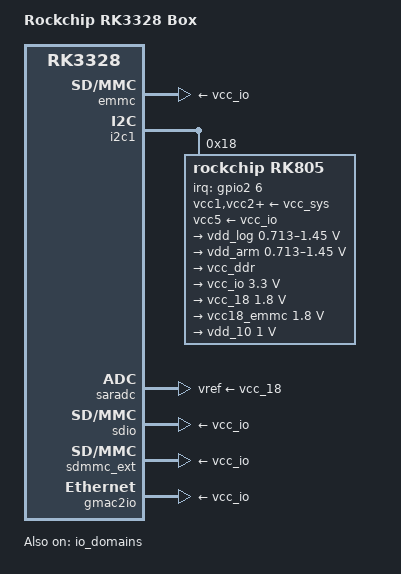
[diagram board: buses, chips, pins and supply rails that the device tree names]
// SPDX-License-Identifier: (GPL-2.0+ OR MIT)

/dts-v1/;
#include "rk33x8-box.dtsi"

/ {
	model = "Rockchip RK3328 Box";

};

&cpu0 {
	cpu-supply = <&vdd_arm>;
};

&cpu1 {
	cpu-supply = <&vdd_arm>;
};

&cpu2 {
	cpu-supply = <&vdd_arm>;
};

&cpu3 {
	cpu-supply = <&vdd_arm>;
};

&emmc {
	vmmc-supply = <&vcc_io>;
	vqmmc-supply = <&vcc18_emmc>;
};

&io_domains {
	vccio1-supply = <&vcc_io>;
	vccio2-supply = <&vcc18_emmc>;
	vccio3-supply = <&vcc_io>;
	vccio4-supply = <&vcc_18>;
	vccio5-supply = <&vcc_io>;
	vccio6-supply = <&vcc_io>;
	pmuio-supply = <&vcc_io>;
	status = "okay";
};

&i2c1 {
	status = "okay";

	rk805: pmic@18 {
		compatible = "rockchip,rk805";
		reg = <0x18>;
		interrupt-parent = <&gpio2>;
		interrupts = <6 IRQ_TYPE_LEVEL_LOW>;
		#clock-cells = <1>;
		clock-output-names = "xin32k", "rk805-clkout2";
		gpio-controller;
		#gpio-cells = <2>;
		pinctrl-names = "default";
		pinctrl-0 = <&pmic_int_l>;
		rockchip,system-power-controller;
		wakeup-source;

		vcc1-supply = <&vcc_sys>;
		vcc2-supply = <&vcc_sys>;
		vcc3-supply = <&vcc_sys>;
		vcc4-supply = <&vcc_sys>;
		vcc5-supply = <&vcc_io>;
		vcc6-supply = <&vcc_sys>;

		regulators {
			vdd_log: DCDC_REG1 {
				regulator-name = "vdd_log";
				regulator-min-microvolt = <712500>;
				regulator-max-microvolt = <1450000>;
				regulator-ramp-delay = <12500>;
				regulator-always-on;
				regulator-boot-on;
				regulator-state-mem {
					regulator-on-in-suspend;
					regulator-suspend-microvolt = <1000000>;
				};
			};

			vdd_arm: DCDC_REG2 {
				regulator-name = "vdd_arm";
				regulator-min-microvolt = <712500>;
				regulator-max-microvolt = <1450000>;
				regulator-ramp-delay = <12500>;
				regulator-always-on;
				regulator-boot-on;
				regulator-state-mem {
					regulator-on-in-suspend;
					regulator-suspend-microvolt = <950000>;
				};
			};

			vcc_ddr: DCDC_REG3 {
				regulator-name = "vcc_ddr";
				regulator-always-on;
				regulator-boot-on;
				regulator-state-mem {
					regulator-on-in-suspend;
				};
			};

			vcc_io: DCDC_REG4 {
				regulator-name = "vcc_io";
				regulator-min-microvolt = <3300000>;
				regulator-max-microvolt = <3300000>;
				regulator-always-on;
				regulator-boot-on;
				regulator-state-mem {
					regulator-on-in-suspend;
					regulator-suspend-microvolt = <3300000>;
				};
			};

			vcc_18: LDO_REG1 {
				regulator-name = "vcc_18";
				regulator-min-microvolt = <1800000>;
				regulator-max-microvolt = <1800000>;
				regulator-always-on;
				regulator-boot-on;
				regulator-state-mem {
					regulator-on-in-suspend;
					regulator-suspend-microvolt = <1800000>;
				};
			};

			vcc18_emmc: LDO_REG2 {
				regulator-name = "vcc18_emmc";
				regulator-min-microvolt = <1800000>;
				regulator-max-microvolt = <1800000>;
				regulator-always-on;
				regulator-boot-on;
				regulator-state-mem {
					regulator-on-in-suspend;
					regulator-suspend-microvolt = <1800000>;
				};
			};

			vdd_10: LDO_REG3 {
				regulator-name = "vdd_10";
				regulator-min-microvolt = <1000000>;
				regulator-max-microvolt = <1000000>;
				regulator-always-on;
				regulator-boot-on;
				regulator-state-mem {
					regulator-on-in-suspend;
					regulator-suspend-microvolt = <1000000>;
				};
			};
		};
	};
};

&pinctrl {
	pmic {
		pmic_int_l: pmic-int-l {
			rockchip,pins = <2 RK_PA6 RK_FUNC_GPIO &pcfg_pull_up>;
		};
	};

};

&saradc {
	vref-supply = <&vcc_18>;
};

&sdio {
	vmmc-supply = <&vcc_io>;
};

&sdmmc_ext {
	vmmc-supply = <&vcc_io>;
};

&vcc_sd {
	vin-supply = <&vcc_io>;
};

&gmac2io {
	phy-supply = <&vcc_io>;
};

&gmac2phy {
	phy-supply = <&vcc_io>;
};

&gpu {
	mali-supply = <&vdd_log>;
};
